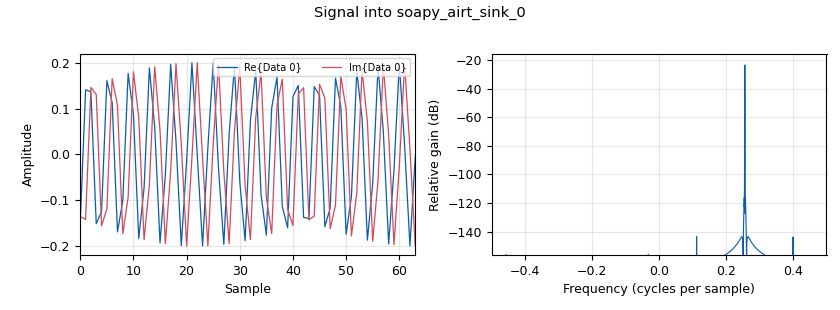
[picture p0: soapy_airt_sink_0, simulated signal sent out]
options:
  parameters:
    author: Deepwave Digital
    generate_options: qt_gui
    id: airstack_tx_demo
    output_language: python
    qt_qss_theme: /usr/share/gnuradio/themes/dark.qss
    title: AirStack Demo
  states: {}

blocks:
- name: base_adc_rate
  id: variable
  parameters:
    value: int(125e6)
  states: {}
- name: bb_freq_mhz
  id: variable_qtgui_range
  parameters:
    label: Baseband Frequency (MHz)
    min_len: '600'
    start: '-samp_rate/2'
    step: '0.1'
    stop: samp_rate/2
    value: '1'
  states: {}
- name: lo_freq_mhz
  id: variable_qtgui_range
  parameters:
    label: LO Frequency (MHz)
    min_len: '600'
    start: 300+(samp_rate/1e6/2)
    step: '1'
    stop: 6000-(samp_rate/1e6/2)
    value: '2400'
  states: {}
- name: samp_rate
  id: variable_qtgui_chooser
  parameters:
    label: 'Sample Rate '
    labels: '[str(base_adc_rate), str(base_adc_rate/2), str(base_adc_rate/4), str(base_adc_rate/8), str(base_adc_rate/16), str(base_adc_rate/32)]'
    num_opts: '0'
    options: '[base_adc_rate, base_adc_rate/2, base_adc_rate/4, base_adc_rate/8, base_adc_rate/16, base_adc_rate/32]'
    type: real
    value: base_adc_rate/32
  states: {}
- name: analog_sig_source_x_0
  id: analog_sig_source_x
  parameters:
    amp: '0.2'
    freq: bb_freq_mhz*1e6
    offset: '0'
    phase: '0'
    samp_rate: samp_rate
    type: complex
    waveform: analog.GR_COS_WAVE
  states: {}
- name: soapy_airt_sink_0
  id: soapy_airt_sink
  parameters:
    center_freq: lo_freq_mhz*1e6
    dev_args: f"master_clock_rate={base_adc_rate:.3f}"
    gain0: '-10'
    gain1: '0'
    min_buff_size: '4096'
    nchan: '1'
    samp_rate0: samp_rate
    samp_rate1: samp_rate
    stream_args: ''
    type: fc32
  states: {}

connections:
- [analog_sig_source_x_0, '0', soapy_airt_sink_0, '0']

metadata:
  file_format: 1
